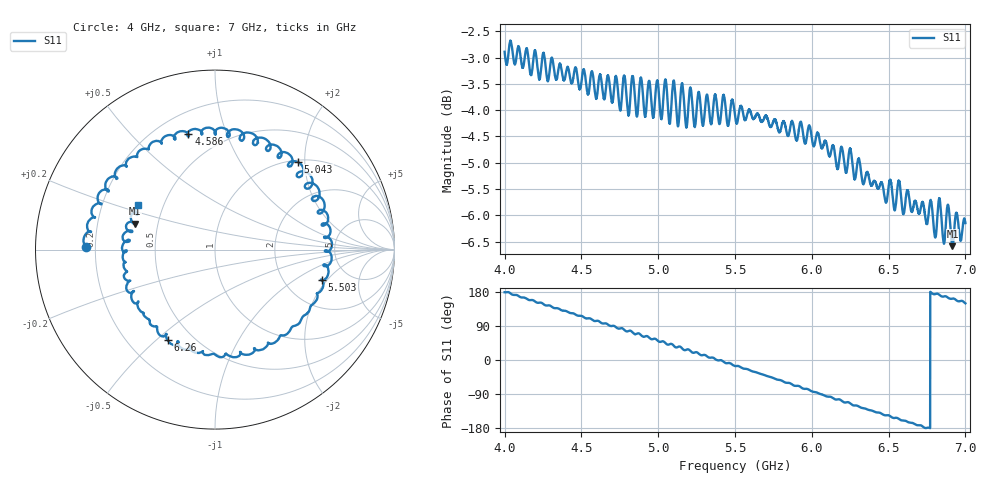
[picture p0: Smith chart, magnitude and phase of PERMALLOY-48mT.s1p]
#  HZ  S  RI  R  50.0
! Rohde & Schwarz ZVL13 2Ports - Version 3.31 - 1303.6509k13 SN: 101088
! Date: 2023-03-03 14:40:39
! Data & Calibration Information:
! Trc2:S21(TOSM)
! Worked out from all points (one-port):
!   4000 points, 4 GHz to 7 GHz, reference 50 ohm
!   lowest |S11| = -6.6 dB at 6.916 GHz (marker M1), VSWR 2.76, Z = 18.5 + j6.86 ohm
!   |S11| at or under -10 dB: nowhere
!   S11 on the Smith chart (normalised r, x): 4 GHz: 0.16, +0.01; 4.586 GHz: 0.33, +0.74; 5.043 GHz: 1.04, +1.85; 5.503 GHz: 3.19, -1.76; 6.26 GHz: 0.36, -0.55; 7 GHz: 0.36, +0.24
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4e9  -0.7169 0.0144
4.024006e9  -0.713 0.0102
4.194299e9  -0.6538 0.2957
4.375094e9  -0.4444 0.5187
4.51838e9  -0.2592 0.6378
4.585896e9  -0.1477 0.643
4.674419e9  -0.0361 0.6798
4.750188e9  0.0765 0.6282
4.777194e9  0.1147 0.6702
4.883721e9  0.2603 0.6236
5.042761e9  0.4625 0.4879
5.125281e9  0.5093 0.3399
5.16129e9  0.5823 0.3139
5.186047e9  0.5404 0.2823
5.213803e9  0.6108 0.2491
5.31958e9  0.6439 0.1032
5.500375e9  0.5989 -0.1723
5.503376e9  0.5941 -0.1709
5.647412e9  0.5203 -0.3494
5.875469e9  0.255 -0.5585
6.03976e9  0.0309 -0.5987
6.250563e9  -0.2424 -0.5265
6.259565e9  -0.2634 -0.5051
6.462116e9  -0.4313 -0.3158
6.625656e9  -0.5077 -0.149
6.829707e9  -0.5149 0.0708
6.915979e9  -0.4456 0.1447
7e9  -0.4249 0.2498
